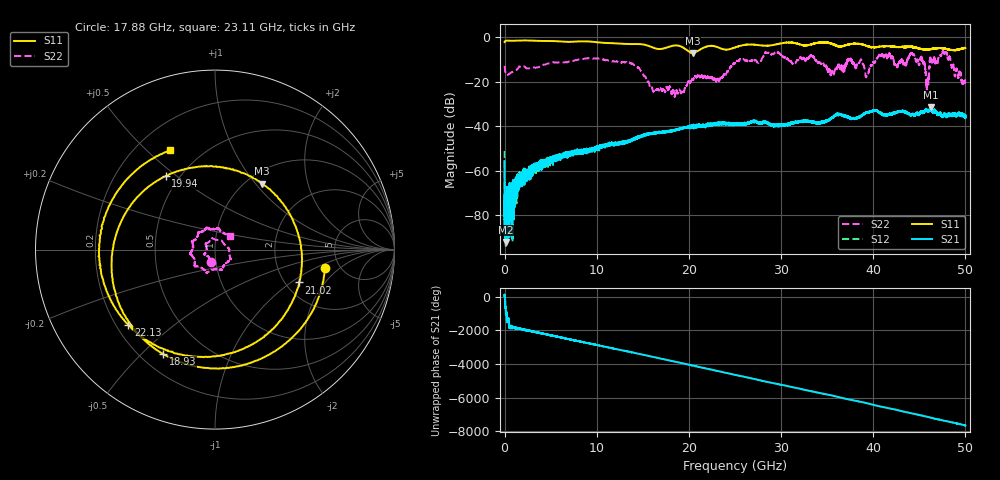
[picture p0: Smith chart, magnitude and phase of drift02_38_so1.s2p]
!Created with skrf (http://scikit-rf.org).
# Hz S RI R 50.0
!freq ReS11 ImS11 ReS21 ImS21 ReS12 ImS12 ReS22 ImS22
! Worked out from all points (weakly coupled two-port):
!   10001 points, 300 kHz to 50 GHz, reference 50 ohm
!   highest |S21| = -31.48 dB at 46.23 GHz (marker M1); lowest = -92.2 dB at 175.3 MHz (marker M2)
!   lowest |S11| = -6.9 dB at 20.44 GHz (marker M3), VSWR 2.64, Z = 58.7 + j54.1 ohm
!   |S11| at or under -10 dB: nowhere
!   |S22| runs from -26.8 to -6.1 dB; largest |S21 - S12| = 0.0032
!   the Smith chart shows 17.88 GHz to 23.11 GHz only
!   S11 on the Smith chart (normalised r, x): 17.88 GHz: 3.84, -1.26; 18.93 GHz: 0.29, -0.58; 19.94 GHz: 0.42, +0.46; 21.02 GHz: 2.36, -1.16; 22.13 GHz: 0.25, -0.35; 23.11 GHz: 0.34, +0.59
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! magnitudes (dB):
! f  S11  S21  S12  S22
! 300 kHz  -2.1  -55.7  -51.1  -12.8
! 175.3 MHz  -1.4  -92.2  -81.7  -16.9
! 3.33 GHz  -1.5  -59.2  -58.0  -13.7
! 8.335 GHz  -1.7  -51.2  -51.3  -9.7
! 13.71 GHz  -3.0  -46.3  -46.4  -11.7
! 16.67 GHz  -5.2  -42.6  -43.1  -23.6
! 17.88 GHz  -4.1  -42.1  -42.2  -22.5
! 18.93 GHz  -3.7  -41.2  -41.1  -23.6
! 19.94 GHz  -6.1  -40.0  -40.2  -19.7
! 20.44 GHz  -6.9  -40.3  -39.8  -19.2
! 21.02 GHz  -6.0  -40.3  -39.8  -16.8
! 22.13 GHz  -3.9  -39.5  -39.5  -17.8
! 23.11 GHz  -4.3  -38.7  -38.9  -18.9
! 25 GHz  -4.5  -39.0  -39.0  -11.6
! 33.34 GHz  -3.1  -37.8  -37.8  -8.4
! 39.32 GHz  -3.8  -33.6  -33.7  -16.8
! 41.67 GHz  -3.9  -34.7  -34.7  -7.9
! 44.26 GHz  -4.2  -34.7  -34.7  -7.4
! 45.86 GHz  -5.4  -33.0  -33.2  -18.7
! 46.23 GHz  -5.2  -31.5  -32.1  -9.2
! 47.76 GHz  -5.0  -34.9  -34.8  -6.9
! 50 GHz  -4.7  -35.1  -36.2  -18.9
